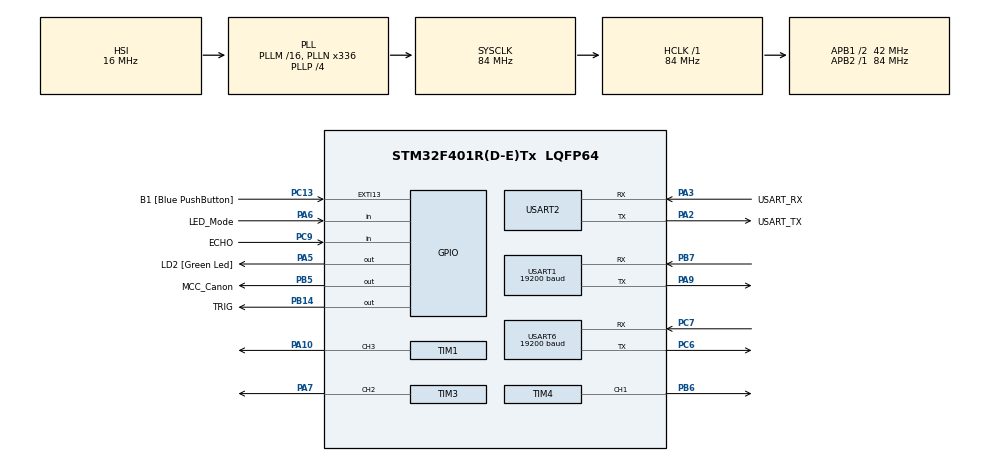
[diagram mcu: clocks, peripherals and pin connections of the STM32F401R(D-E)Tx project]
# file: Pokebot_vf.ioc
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Mcu.Family=STM32F4
Mcu.Name=STM32F401R(D-E)Tx
Mcu.Package=LQFP64
NVIC.PriorityGroup=NVIC_PRIORITYGROUP_0
NVIC.USART1_IRQn=true\:0\:0\:false\:false\:true\:true\:true\:true
NVIC.USART2_IRQn=true\:0\:0\:false\:false\:true\:true\:true\:true
NVIC.USART6_IRQn=true\:0\:0\:false\:false\:true\:true\:true\:true
PA10.Signal=S_TIM1_CH3
PA13.GPIO_Label=TMS
PA13.Mode=Serial_Wire
PA13.Signal=SYS_JTMS-SWDIO
PA14.GPIO_Label=TCK
PA14.Mode=Serial_Wire
PA14.Signal=SYS_JTCK-SWCLK
PA2.GPIO_Label=USART_TX
PA2.GPIO_Mode=GPIO_MODE_AF_PP
PA2.GPIO_PuPd=GPIO_NOPULL
PA2.GPIO_Speed=GPIO_SPEED_FREQ_LOW
PA2.Mode=Asynchronous
PA2.Signal=USART2_TX
PA3.GPIO_Label=USART_RX
PA3.GPIO_Mode=GPIO_MODE_AF_PP
PA3.GPIO_PuPd=GPIO_NOPULL
PA3.GPIO_Speed=GPIO_SPEED_FREQ_LOW
PA3.Mode=Asynchronous
PA3.Signal=USART2_RX
PA5.GPIO_Label=LD2 [Green Led]
PA5.GPIO_PuPd=GPIO_NOPULL
PA5.GPIO_Speed=GPIO_SPEED_FREQ_LOW
PA5.Signal=GPIO_Output
PA6.GPIO_Label=LED_Mode
PA6.Signal=GPIO_Input
PA7.Signal=S_TIM3_CH2
PA9.Mode=Asynchronous
PA9.Signal=USART1_TX
PB14.GPIO_Label=TRIG
PB14.Signal=GPIO_Output
PB3.GPIO_Label=SWO
PB3.Signal=SYS_JTDO-SWO
PB5.GPIO_Label=MCC_Canon
PB5.Signal=GPIO_Output
PB6.Signal=S_TIM4_CH1
PB7.Mode=Asynchronous
PB7.Signal=USART1_RX
PC13-ANTI_TAMP.GPIO_Label=B1 [Blue PushButton]
PC13-ANTI_TAMP.GPIO_ModeDefaultEXTI=GPIO_MODE_IT_FALLING
PC13-ANTI_TAMP.GPIO_PuPd=GPIO_NOPULL
PC13-ANTI_TAMP.Signal=GPXTI13
PC14-OSC32_IN.Mode=LSE-External-Oscillator
PC14-OSC32_IN.Signal=RCC_OSC32_IN
PC15-OSC32_OUT.Mode=LSE-External-Oscillator
PC15-OSC32_OUT.Signal=RCC_OSC32_OUT
PC6.GPIO_ModeDefaultPP=GPIO_MODE_AF_OD
PC6.Mode=Asynchronous
PC6.Signal=USART6_TX
PC7.Mode=Asynchronous
PC7.Signal=USART6_RX
PC9.GPIO_Label=ECHO
PC9.Signal=GPIO_Input
PH0\ -\ OSC_IN.Mode=HSE-External-Clock-Source
PH0\ -\ OSC_IN.Signal=RCC_OSC_IN
PH1\ -\ OSC_OUT.Mode=HSE-External-Clock-Source
PH1\ -\ OSC_OUT.Signal=RCC_OSC_OUT
ProjectManager.HeapSize=0x200
ProjectManager.StackSize=0x400
ProjectManager.TargetToolchain=STM32CubeIDE
RCC.48MHZClocksFreq_Value=48000000
RCC.AHBFreq_Value=84000000
RCC.APB1CLKDivider=RCC_HCLK_DIV2
RCC.APB1Freq_Value=42000000
RCC.APB1TimFreq_Value=84000000
RCC.APB2Freq_Value=84000000
RCC.APB2TimFreq_Value=84000000
RCC.CortexFreq_Value=84000000
RCC.HCLKFreq_Value=84000000
RCC.HSE_VALUE=8000000
RCC.HSI_VALUE=16000000
RCC.PLLN=336
RCC.PLLP=RCC_PLLP_DIV4
RCC.PLLQ=7
RCC.SYSCLKFreq_VALUE=84000000
RCC.SYSCLKSource=RCC_SYSCLKSOURCE_PLLCLK
RCC.VCOOutputFreq_Value=336000000
SH.S_TIM1_CH3.0=TIM1_CH3,PWM Generation3 CH3
SH.S_TIM3_CH2.0=TIM3_CH2,PWM Generation2 CH2
SH.S_TIM4_CH1.0=TIM4_CH1,PWM Generation1 CH1
TIM1.Channel-PWM\ Generation3\ CH3=TIM_CHANNEL_3
TIM1.Period=99
TIM1.Prescaler=16800
TIM2.Period=65535
TIM2.Prescaler=71
TIM3.Channel-PWM\ Generation2\ CH2=TIM_CHANNEL_2
TIM3.Period=100-1
TIM3.Prescaler=16800
TIM4.Channel-PWM\ Generation1\ CH1=TIM_CHANNEL_1
TIM4.Period=100-1
TIM4.Prescaler=2100
USART1.BaudRate=19200
USART1.VirtualMode=VM_ASYNC
USART2.VirtualMode=VM_ASYNC
USART6.BaudRate=19200
USART6.VirtualMode=VM_ASYNC
VP_TIM1_VS_ClockSourceINT.Mode=Internal
VP_TIM2_VS_ClockSourceINT.Mode=Internal
VP_TIM3_VS_ClockSourceINT.Mode=Internal
VP_TIM4_VS_ClockSourceINT.Mode=Internal
board=NUCLEO-F401RE

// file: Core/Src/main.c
/* USER CODE BEGIN Header */
/**
  ******************************************************************************
  * @file           : main.c
  * @brief          : Main program body
  ******************************************************************************
  * @attention
  *
  * Copyright (c) 2023 STMicroelectronics.
  * All rights reserved.
  *
  * This software is licensed under terms that can be found in the LICENSE file
  * in the root directory of this software component.
  * If no LICENSE file comes with this software, it is provided AS-IS.
  *
  ******************************************************************************
  */
/* USER CODE END Header */
#include "main.h"

/* USER CODE BEGIN Includes */
#include "string.h"
#include <stdio.h>
#include "autonomie.h"
//#include "servo.h"

//#include "../UART_comm/handleCmd.h"
/* USER CODE END Includes */

/* USER CODE BEGIN PD */
#define ASCII_ESC "\033"
#define CLEAR_CONSOLE "\033[2J"
/* USER CODE END PD */

TIM_HandleTypeDef htim1;
TIM_HandleTypeDef htim2;
TIM_HandleTypeDef htim3;
TIM_HandleTypeDef htim4;

UART_HandleTypeDef huart1;
UART_HandleTypeDef huart2;
UART_HandleTypeDef huart6;

/* USER CODE BEGIN PV */
unsigned char received, serializerResp[100];
char commande[27], buffer[27];
float distance_ul;
unsigned char flagTirCanon = 0, flagServo0 = 0, flagServo90 = 0, flagServo180 = 0;
/* USER CODE END PV */

void SystemClock_Config(void);
static void MX_GPIO_Init(void);
static void MX_TIM3_Init(void);
static void MX_USART1_UART_Init(void);
static void MX_USART6_UART_Init(void);
static void MX_TIM2_Init(void);
static void MX_TIM1_Init(void);
static void MX_TIM4_Init(void);
static void MX_USART2_UART_Init(void);

/* USER CODE BEGIN 0 */

//Fonctions -------------------------------------------------------------------
//Fonctions liées à la détection d'obstacles

/*
 * @brief : Cette fonction permet de mesurer la distance du robot avec l'obstacle
 * en face du capteur à ultrason.
 * @Param : none
 * @Return : none
 * */
void Distance_Sensor(){
	  //Initialisation variables
  	  uint32_t start_time = 0;
  	  uint32_t end_time = 0;
  	  float elapsed_time = 0;
  	  float sound_speed = 343.595*100;

  	  //Envoie de l'impulsion pour déclencher la détection d'obstacle
  	  HAL_GPIO_WritePin(TRIG_GPIO_Port, TRIG_Pin, GPIO_PIN_SET);
  	  HAL_Delay(1); //ms
  	  HAL_GPIO_WritePin(TRIG_GPIO_Port, TRIG_Pin, GPIO_PIN_RESET);

  	  //Attente de la réception de l'écho par le télémètre et calcul du temps mis pour le recevoir
  	  while (HAL_GPIO_ReadPin(ECHO_GPIO_Port, ECHO_Pin) == GPIO_PIN_RESET);

  	  HAL_TIM_Base_Start(&htim2);
  	  start_time = __HAL_TIM_GET_COUNTER(&htim2);

  	  while (HAL_GPIO_ReadPin(ECHO_GPIO_Port, ECHO_Pin) == GPIO_PIN_SET);

  	  end_time = __HAL_TIM_GET_COUNTER(&htim2);
  	  elapsed_time = ((float) (end_time - start_time)) / ((float) HAL_RCC_GetPCLK1Freq() * 2);

  	  //Cacul de la distance et formatage de la donnée
  	  distance_ul = 35 * sound_speed * elapsed_time;
  	  sprintf(buffer,"%f \n",distance_ul);
    }

/*
 * @brief : Cette fonction permet d'orienter le capteur à ultra en fonction d'un angle de 0°, 90°, 180°
 * grâce au servo moteur. Cette fonction appelle par la suite la fonction DistcanceSensor.
 * en face du capteur à ultrason.
 * @Param : angle (int) : angle du servomoteur souhaité
 * @Return : none
 * */
  void ServoMotor(int angle){
	  switch (angle){
	  case 0:
		  htim3.Instance->CCR2 = 3; //0°
		  HAL_Delay(2000);
		  Distance_Sensor();
		  break;
	  case 90:
		  htim3.Instance->CCR2 = 7; //90°
		  HAL_Delay(2000);
		  Distance_Sensor();
		  break;
	  case 180:
		  htim3.Instance->CCR2 = 12; //180°
		  HAL_Delay(2000);
		  Distance_Sensor();
		  break;
	  default:
		  break;
	  }
  }

//Fonctions pour la communication UART
/*
* @brief : Cette fonction permet de recevoir les différentes commandes de la RaspberryPi. Elle apelle ensuite
* les différentes fonctions en conséquence. Elle renvoie ensuite la réponse du robot à la Raspberry Pi.
* @Param : huart (UART_HandleTypeDef) : numéro de l'UART en train de communiquer appelant la fonction par interruption.
* @Return : none
* */
void HAL_UART_RxCpltCallback(UART_HandleTypeDef *huart)
{
	if (huart == &huart1){ // commande recue de la Raspberry PI
		if (received == 'z'){// avancer
			forward_back(50.0,'-','-',commande);
			HAL_UART_Transmit(&huart6, (unsigned char *)commande, strlen(commande),HAL_MAX_DELAY);
		}
		else if (received == 'a'){//arrêter
			HAL_UART_Transmit(&huart6, (unsigned char *)"stop\r",5,HAL_MAX_DELAY);
		}
		else if (received == 'q'){//tourner à gauche
			turn_forward(-1, commande);
			HAL_UART_Transmit(&huart6,(unsigned char*)commande,strlen(commande),HAL_MAX_DELAY);
		}
		else if (received == 'd'){//tourner à droite
			turn_forward(1, commande);
			HAL_UART_Transmit(&huart6,(unsigned char*)commande,strlen(commande),HAL_MAX_DELAY);
		}
		else if (received == 's'){//reculer
			forward_back(50.0,' ',' ', commande);
			HAL_UART_Transmit(&huart6,(unsigned char*)commande,strlen(commande),HAL_MAX_DELAY);
		}
		//À coupler avec la commande d et q pour avancer sur une case annexe à gauche ou droite
		else if (received == 'x'){
			forward_back(42.0,'-','-', commande);
			HAL_UART_Transmit(&huart6,(unsigned char*)commande,strlen(commande),HAL_MAX_DELAY);
		}
		//Comande pour tourner le servomoteur et calculer la distance selon un angle 0°,90°,180°
		else if (received == 'u'){//angle 0
			flagServo0 = 1;//voir boucle while
		}
		else if (received == 'i'){//angle 90
			flagServo90 = 1;
		}
		else if (received == 'o'){//angle 180
			flagServo180 = 1;
		}
		//
		else if (received == 't'){ // tirer une bille
			flagTirCanon = 1;//voir boucle while
		}
		else {//réponse transmise sur la commande envoyée n'est pas comprise
			HAL_UART_Transmit(&huart1, (unsigned char*)"NACK",5, HAL_MAX_DELAY);
		}

	}
	else if(huart == &huart6){ // commande reçue du Serializer
		if (received != '>'){
			HAL_UART_Transmit(&huart1, &received, 1,HAL_MAX_DELAY);
		}
	}
    HAL_UART_Receive_IT(huart, &received, 1);
}

/* USER CODE END 0 */

int main(void)
{

  /* MCU Configuration--------------------------------------------------------*/

  /* Reset of all peripherals, Initializes the Flash interface and the Systick. */
  HAL_Init();

  /* Configure the system clock */
  SystemClock_Config();

  /* Initialize all configured peripherals */
  MX_GPIO_Init();
  MX_TIM3_Init();
  MX_USART1_UART_Init();
  MX_USART6_UART_Init();
  MX_TIM2_Init();
  MX_TIM1_Init();
  MX_TIM4_Init();
  MX_USART2_UART_Init();
  /* USER CODE BEGIN 2 */
  //Initialisation des liaisons UART
  char message [20] = "UART initialized\n";
  HAL_GPIO_WritePin(LD2_GPIO_Port, LD2_Pin, GPIO_PIN_SET);
  HAL_UART_Transmit(&huart1, CLEAR_CONSOLE, strlen(CLEAR_CONSOLE), HAL_MAX_DELAY);
  HAL_UART_Transmit(&huart1, (unsigned char*)message, strlen(message), HAL_MAX_DELAY);
  HAL_UART_Receive_IT(&huart1, &received, 1);
  HAL_UART_Receive_IT(&huart6, &received, 1);

  //Initalisation des PWM pour la détection d'obstacle, le tir de canon et la LED.
  HAL_TIM_Base_Start_IT(&htim2);
  HAL_TIM_PWM_Start(&htim3, TIM_CHANNEL_2);

  HAL_TIM_PWM_Start(&htim1, TIM_CHANNEL_3);
  __HAL_TIM_SET_COMPARE(&htim1, TIM_CHANNEL_3, 6); // ball CANNOT fall

  /* USER CODE END 2 */

  /* Infinite loop */
  /* USER CODE BEGIN WHILE */
  while (1)
  {
	  //Action liée à la commande pour la détection d'obstacle à un certain angle
	  if (flagServo0){
		ServoMotor(0);
		HAL_UART_Transmit(&huart1, (unsigned char *)buffer, strlen(buffer), HAL_MAX_DELAY);
		flagServo0 = 0;
	  }
	  else if (flagServo90){
	  		ServoMotor(90);
	  		HAL_UART_Transmit(&huart1, (unsigned char *)buffer, strlen(buffer), HAL_MAX_DELAY);
	  		flagServo90 = 0;
	  }
	  else if (flagServo180){
	  		ServoMotor(180);
	  		HAL_UART_Transmit(&huart1, (unsigned char *)buffer, strlen(buffer), HAL_MAX_DELAY);
	  		flagServo180 = 0;
	  }
	  //
	  //Action liée à la commande pour le tir de canon
	  else if (flagTirCanon) {
			HAL_GPIO_WritePin(MCC_Canon_GPIO_Port, MCC_Canon_Pin, GPIO_PIN_SET);
			HAL_Delay(5000);
			__HAL_TIM_SET_COMPARE(&htim1, TIM_CHANNEL_3, 5); // ball can fall
			HAL_Delay(40);
			__HAL_TIM_SET_COMPARE(&htim1, TIM_CHANNEL_3, 6); // ball CANNOT fall
			HAL_Delay(500);
			HAL_GPIO_WritePin(MCC_Canon_GPIO_Port, MCC_Canon_Pin, GPIO_PIN_RESET);
			flagTirCanon = 0; // peut re-tirer
			}
	  //
	  //Action pour allumer la LED
	  else if (HAL_GPIO_ReadPin(LED_Mode_GPIO_Port, LED_Mode_Pin) == GPIO_PIN_SET ) {
		HAL_TIM_PWM_Start(&htim4, TIM_CHANNEL_1);
		__HAL_TIM_SET_COMPARE(&htim4, TIM_CHANNEL_1, 15); // Définit le rapport cyclique à 15%
		} else {
		HAL_TIM_PWM_Stop(&htim4, TIM_CHANNEL_1);
		}
    /* USER CODE END WHILE */

  }
}

void SystemClock_Config(void)
{
  RCC_OscInitTypeDef RCC_OscInitStruct = {0};
  RCC_ClkInitTypeDef RCC_ClkInitStruct = {0};

  /** Configure the main internal regulator output voltage
  */
  __HAL_RCC_PWR_CLK_ENABLE();
  __HAL_PWR_VOLTAGESCALING_CONFIG(PWR_REGULATOR_VOLTAGE_SCALE2);

  /** Initializes the RCC Oscillators according to the specified parameters
  * in the RCC_OscInitTypeDef structure.
  */
  RCC_OscInitStruct.OscillatorType = RCC_OSCILLATORTYPE_HSI;
  RCC_OscInitStruct.HSIState = RCC_HSI_ON;
  RCC_OscInitStruct.HSICalibrationValue = RCC_HSICALIBRATION_DEFAULT;
  RCC_OscInitStruct.PLL.PLLState = RCC_PLL_ON;
  RCC_OscInitStruct.PLL.PLLSource = RCC_PLLSOURCE_HSI;
  RCC_OscInitStruct.PLL.PLLM = 16;
  RCC_OscInitStruct.PLL.PLLN = 336;
  RCC_OscInitStruct.PLL.PLLP = RCC_PLLP_DIV4;
  RCC_OscInitStruct.PLL.PLLQ = 7;
  if (HAL_RCC_OscConfig(&RCC_OscInitStruct) != HAL_OK)
  {
    Error_Handler();
  }

  /** Initializes the CPU, AHB and APB buses clocks
  */
  RCC_ClkInitStruct.ClockType = RCC_CLOCKTYPE_HCLK|RCC_CLOCKTYPE_SYSCLK
                              |RCC_CLOCKTYPE_PCLK1|RCC_CLOCKTYPE_PCLK2;
  RCC_ClkInitStruct.SYSCLKSource = RCC_SYSCLKSOURCE_PLLCLK;
  RCC_ClkInitStruct.AHBCLKDivider = RCC_SYSCLK_DIV1;
  RCC_ClkInitStruct.APB1CLKDivider = RCC_HCLK_DIV2;
  RCC_ClkInitStruct.APB2CLKDivider = RCC_HCLK_DIV1;

  if (HAL_RCC_ClockConfig(&RCC_ClkInitStruct, FLASH_LATENCY_2) != HAL_OK)
  {
    Error_Handler();
  }
}

static void MX_TIM1_Init(void)
{

  TIM_ClockConfigTypeDef sClockSourceConfig = {0};
  TIM_MasterConfigTypeDef sMasterConfig = {0};
  TIM_OC_InitTypeDef sConfigOC = {0};
  TIM_BreakDeadTimeConfigTypeDef sBreakDeadTimeConfig = {0};

  htim1.Instance = TIM1;
  htim1.Init.Prescaler = 16800;
  htim1.Init.CounterMode = TIM_COUNTERMODE_UP;
  htim1.Init.Period = 99;
  htim1.Init.ClockDivision = TIM_CLOCKDIVISION_DIV1;
  htim1.Init.RepetitionCounter = 0;
  htim1.Init.AutoReloadPreload = TIM_AUTORELOAD_PRELOAD_DISABLE;
  if (HAL_TIM_Base_Init(&htim1) != HAL_OK)
  {
    Error_Handler();
  }
  sClockSourceConfig.ClockSource = TIM_CLOCKSOURCE_INTERNAL;
  if (HAL_TIM_ConfigClockSource(&htim1, &sClockSourceConfig) != HAL_OK)
  {
    Error_Handler();
  }
  if (HAL_TIM_PWM_Init(&htim1) != HAL_OK)
  {
    Error_Handler();
  }
  sMasterConfig.MasterOutputTrigger = TIM_TRGO_RESET;
  sMasterConfig.MasterSlaveMode = TIM_MASTERSLAVEMODE_DISABLE;
  if (HAL_TIMEx_MasterConfigSynchronization(&htim1, &sMasterConfig) != HAL_OK)
  {
    Error_Handler();
  }
  sConfigOC.OCMode = TIM_OCMODE_PWM1;
  sConfigOC.Pulse = 0;
  sConfigOC.OCPolarity = TIM_OCPOLARITY_HIGH;
  sConfigOC.OCNPolarity = TIM_OCNPOLARITY_HIGH;
  sConfigOC.OCFastMode = TIM_OCFAST_DISABLE;
  sConfigOC.OCIdleState = TIM_OCIDLESTATE_RESET;
  sConfigOC.OCNIdleState = TIM_OCNIDLESTATE_RESET;
  if (HAL_TIM_PWM_ConfigChannel(&htim1, &sConfigOC, TIM_CHANNEL_3) != HAL_OK)
  {
    Error_Handler();
  }
  sBreakDeadTimeConfig.OffStateRunMode = TIM_OSSR_DISABLE;
  sBreakDeadTimeConfig.OffStateIDLEMode = TIM_OSSI_DISABLE;
  sBreakDeadTimeConfig.LockLevel = TIM_LOCKLEVEL_OFF;
  sBreakDeadTimeConfig.DeadTime = 0;
  sBreakDeadTimeConfig.BreakState = TIM_BREAK_DISABLE;
  sBreakDeadTimeConfig.BreakPolarity = TIM_BREAKPOLARITY_HIGH;
  sBreakDeadTimeConfig.AutomaticOutput = TIM_AUTOMATICOUTPUT_DISABLE;
  if (HAL_TIMEx_ConfigBreakDeadTime(&htim1, &sBreakDeadTimeConfig) != HAL_OK)
  {
    Error_Handler();
  }
  HAL_TIM_MspPostInit(&htim1);

}

static void MX_TIM2_Init(void)
{

  TIM_ClockConfigTypeDef sClockSourceConfig = {0};
  TIM_MasterConfigTypeDef sMasterConfig = {0};

  htim2.Instance = TIM2;
  htim2.Init.Prescaler = 71;
  htim2.Init.CounterMode = TIM_COUNTERMODE_UP;
  htim2.Init.Period = 65535;
  htim2.Init.ClockDivision = TIM_CLOCKDIVISION_DIV1;
  htim2.Init.AutoReloadPreload = TIM_AUTORELOAD_PRELOAD_DISABLE;
  if (HAL_TIM_Base_Init(&htim2) != HAL_OK)
  {
    Error_Handler();
  }
  sClockSourceConfig.ClockSource = TIM_CLOCKSOURCE_INTERNAL;
  if (HAL_TIM_ConfigClockSource(&htim2, &sClockSourceConfig) != HAL_OK)
  {
    Error_Handler();
  }
  sMasterConfig.MasterOutputTrigger = TIM_TRGO_RESET;
  sMasterConfig.MasterSlaveMode = TIM_MASTERSLAVEMODE_DISABLE;
  if (HAL_TIMEx_MasterConfigSynchronization(&htim2, &sMasterConfig) != HAL_OK)
  {
    Error_Handler();
  }

}

static void MX_TIM3_Init(void)
{

  TIM_ClockConfigTypeDef sClockSourceConfig = {0};
  TIM_MasterConfigTypeDef sMasterConfig = {0};
  TIM_OC_InitTypeDef sConfigOC = {0};

  htim3.Instance = TIM3;
  htim3.Init.Prescaler = 16800;
  htim3.Init.CounterMode = TIM_COUNTERMODE_UP;
  htim3.Init.Period = 100-1;
  htim3.Init.ClockDivision = TIM_CLOCKDIVISION_DIV1;
  htim3.Init.AutoReloadPreload = TIM_AUTORELOAD_PRELOAD_DISABLE;
  if (HAL_TIM_Base_Init(&htim3) != HAL_OK)
  {
    Error_Handler();
  }
  sClockSourceConfig.ClockSource = TIM_CLOCKSOURCE_INTERNAL;
  if (HAL_TIM_ConfigClockSource(&htim3, &sClockSourceConfig) != HAL_OK)
  {
    Error_Handler();
  }
  if (HAL_TIM_PWM_Init(&htim3) != HAL_OK)
  {
    Error_Handler();
  }
  sMasterConfig.MasterOutputTrigger = TIM_TRGO_RESET;
  sMasterConfig.MasterSlaveMode = TIM_MASTERSLAVEMODE_DISABLE;
  if (HAL_TIMEx_MasterConfigSynchronization(&htim3, &sMasterConfig) != HAL_OK)
  {
    Error_Handler();
  }
  sConfigOC.OCMode = TIM_OCMODE_PWM1;
  sConfigOC.Pulse = 0;
  sConfigOC.OCPolarity = TIM_OCPOLARITY_HIGH;
  sConfigOC.OCFastMode = TIM_OCFAST_DISABLE;
  if (HAL_TIM_PWM_ConfigChannel(&htim3, &sConfigOC, TIM_CHANNEL_2) != HAL_OK)
  {
    Error_Handler();
  }
  HAL_TIM_MspPostInit(&htim3);

}

static void MX_TIM4_Init(void)
{

  TIM_ClockConfigTypeDef sClockSourceConfig = {0};
  TIM_MasterConfigTypeDef sMasterConfig = {0};
  TIM_OC_InitTypeDef sConfigOC = {0};

  htim4.Instance = TIM4;
  htim4.Init.Prescaler = 2100;
  htim4.Init.CounterMode = TIM_COUNTERMODE_UP;
  htim4.Init.Period = 100-1;
  htim4.Init.ClockDivision = TIM_CLOCKDIVISION_DIV1;
  htim4.Init.AutoReloadPreload = TIM_AUTORELOAD_PRELOAD_DISABLE;
  if (HAL_TIM_Base_Init(&htim4) != HAL_OK)
  {
    Error_Handler();
  }
  sClockSourceConfig.ClockSource = TIM_CLOCKSOURCE_INTERNAL;
  if (HAL_TIM_ConfigClockSource(&htim4, &sClockSourceConfig) != HAL_OK)
  {
    Error_Handler();
  }
  if (HAL_TIM_PWM_Init(&htim4) != HAL_OK)
  {
    Error_Handler();
  }
  sMasterConfig.MasterOutputTrigger = TIM_TRGO_RESET;
  sMasterConfig.MasterSlaveMode = TIM_MASTERSLAVEMODE_DISABLE;
  if (HAL_TIMEx_MasterConfigSynchronization(&htim4, &sMasterConfig) != HAL_OK)
  {
    Error_Handler();
  }
  sConfigOC.OCMode = TIM_OCMODE_PWM1;
  sConfigOC.Pulse = 0;
  sConfigOC.OCPolarity = TIM_OCPOLARITY_HIGH;
  sConfigOC.OCFastMode = TIM_OCFAST_DISABLE;
  if (HAL_TIM_PWM_ConfigChannel(&htim4, &sConfigOC, TIM_CHANNEL_1) != HAL_OK)
  {
    Error_Handler();
  }
  HAL_TIM_MspPostInit(&htim4);

}

static void MX_USART1_UART_Init(void)
{

  huart1.Instance = USART1;
  huart1.Init.BaudRate = 19200;
  huart1.Init.WordLength = UART_WORDLENGTH_8B;
  huart1.Init.StopBits = UART_STOPBITS_1;
  huart1.Init.Parity = UART_PARITY_NONE;
  huart1.Init.Mode = UART_MODE_TX_RX;
  huart1.Init.HwFlowCtl = UART_HWCONTROL_NONE;
  huart1.Init.OverSampling = UART_OVERSAMPLING_16;
  if (HAL_UART_Init(&huart1) != HAL_OK)
  {
    Error_Handler();
  }

}

static void MX_USART2_UART_Init(void)
{

  huart2.Instance = USART2;
  huart2.Init.BaudRate = 115200;
  huart2.Init.WordLength = UART_WORDLENGTH_8B;
  huart2.Init.StopBits = UART_STOPBITS_1;
  huart2.Init.Parity = UART_PARITY_NONE;
  huart2.Init.Mode = UART_MODE_TX_RX;
  huart2.Init.HwFlowCtl = UART_HWCONTROL_NONE;
  huart2.Init.OverSampling = UART_OVERSAMPLING_16;
  if (HAL_UART_Init(&huart2) != HAL_OK)
  {
    Error_Handler();
  }

}

static void MX_USART6_UART_Init(void)
{

  huart6.Instance = USART6;
  huart6.Init.BaudRate = 19200;
  huart6.Init.WordLength = UART_WORDLENGTH_8B;
  huart6.Init.StopBits = UART_STOPBITS_1;
  huart6.Init.Parity = UART_PARITY_NONE;
  huart6.Init.Mode = UART_MODE_TX_RX;
  huart6.Init.HwFlowCtl = UART_HWCONTROL_NONE;
  huart6.Init.OverSampling = UART_OVERSAMPLING_16;
  if (HAL_UART_Init(&huart6) != HAL_OK)
  {
    Error_Handler();
  }

}

static void MX_GPIO_Init(void)
{
  GPIO_InitTypeDef GPIO_InitStruct = {0};

  /* GPIO Ports Clock Enable */
  __HAL_RCC_GPIOC_CLK_ENABLE();
  __HAL_RCC_GPIOH_CLK_ENABLE();
  __HAL_RCC_GPIOA_CLK_ENABLE();
  __HAL_RCC_GPIOB_CLK_ENABLE();

  /*Configure GPIO pin Output Level */
  HAL_GPIO_WritePin(LD2_GPIO_Port, LD2_Pin, GPIO_PIN_RESET);

  /*Configure GPIO pin Output Level */
  HAL_GPIO_WritePin(GPIOB, TRIG_Pin|MCC_Canon_Pin, GPIO_PIN_RESET);

  /*Configure GPIO pin : B1_Pin */
  GPIO_InitStruct.Pin = B1_Pin;
  GPIO_InitStruct.Mode = GPIO_MODE_IT_FALLING;
  GPIO_InitStruct.Pull = GPIO_NOPULL;
  HAL_GPIO_Init(B1_GPIO_Port, &GPIO_InitStruct);

  /*Configure GPIO pin : LD2_Pin */
  GPIO_InitStruct.Pin = LD2_Pin;
  GPIO_InitStruct.Mode = GPIO_MODE_OUTPUT_PP;
  GPIO_InitStruct.Pull = GPIO_NOPULL;
  GPIO_InitStruct.Speed = GPIO_SPEED_FREQ_LOW;
  HAL_GPIO_Init(LD2_GPIO_Port, &GPIO_InitStruct);

  /*Configure GPIO pin : LED_Mode_Pin */
  GPIO_InitStruct.Pin = LED_Mode_Pin;
  GPIO_InitStruct.Mode = GPIO_MODE_INPUT;
  GPIO_InitStruct.Pull = GPIO_NOPULL;
  HAL_GPIO_Init(LED_Mode_GPIO_Port, &GPIO_InitStruct);

  /*Configure GPIO pins : TRIG_Pin MCC_Canon_Pin */
  GPIO_InitStruct.Pin = TRIG_Pin|MCC_Canon_Pin;
  GPIO_InitStruct.Mode = GPIO_MODE_OUTPUT_PP;
  GPIO_InitStruct.Pull = GPIO_NOPULL;
  GPIO_InitStruct.Speed = GPIO_SPEED_FREQ_LOW;
  HAL_GPIO_Init(GPIOB, &GPIO_InitStruct);

  /*Configure GPIO pin : ECHO_Pin */
  GPIO_InitStruct.Pin = ECHO_Pin;
  GPIO_InitStruct.Mode = GPIO_MODE_INPUT;
  GPIO_InitStruct.Pull = GPIO_NOPULL;
  HAL_GPIO_Init(ECHO_GPIO_Port, &GPIO_InitStruct);

}

void Error_Handler(void)
{
  __disable_irq();
  while (1)
  {
  }
}
